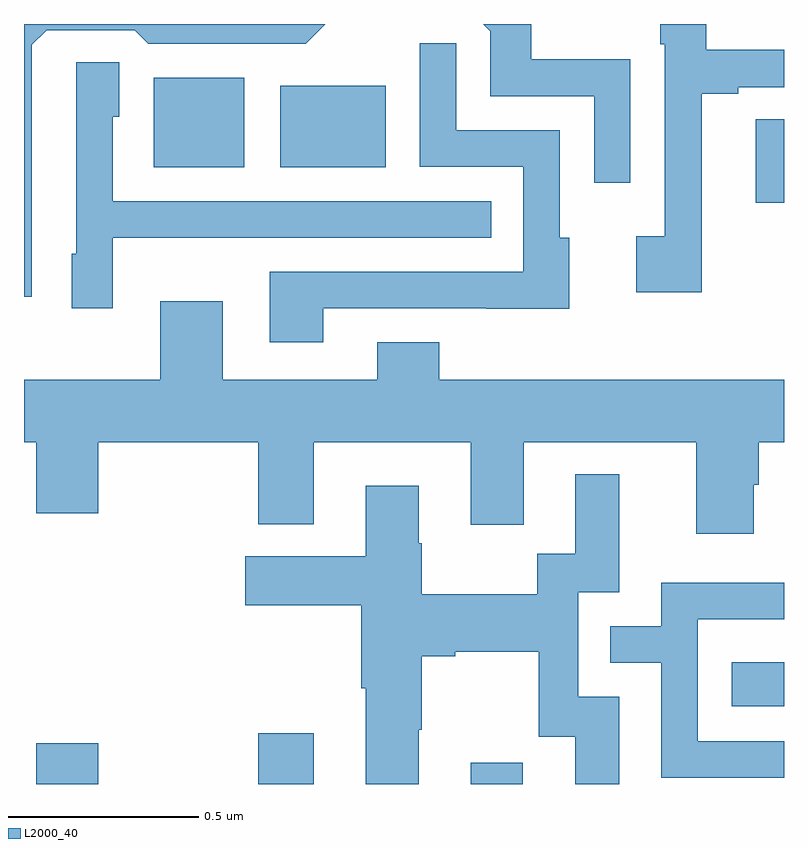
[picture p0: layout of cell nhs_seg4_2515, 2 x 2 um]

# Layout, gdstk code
import gdstk
lib = gdstk.Library(unit=1e-6, precision=1e-09)
def R(c, l, rs):  # rectangles x0, y0, x1, y1
    for r in rs: c.add(gdstk.rectangle(r[:2], r[2:], *l))
def P(c, l, *ps):  # polygons
    for p in ps: c.add(gdstk.Polygon(p, *l))
L2000_40 = (2000, 40)

nhs_seg4_2515 = lib.new_cell('nhs_seg4_2515')
R(nhs_seg4_2515, L2000_40, [(141.032,815.9,141.196,816.007), (141.616,815.9,141.763,816.034), (142.175,815.9,142.312,815.956), (142.863,816.105,143,816.22), (142.925,817.43,143,817.649), (141.341,817.523,141.58,817.759), (141.674,817.523,141.952,817.738)])
P(nhs_seg4_2515, L2000_40, [(142.783,817.716),(142.879,817.716),(142.879,817.734),(143,817.734),(143,817.832),(142.795,817.832),(142.795,817.9),(142.674,817.9),(142.674,817.847),(142.686,817.847),(142.686,817.342),(142.611,817.342),(142.611,817.194),(142.783,817.194)],
  [(142.596,817.807),(142.335,817.807),(142.335,817.9),(142.208,817.9),(142.227,817.881),(142.227,817.71),(142.5,817.71),(142.5,817.482),(142.596,817.482)],
  [(141.021,817.845),(141.06,817.884),(141.291,817.884),(141.327,817.848),(141.741,817.848),(141.793,817.9),(141,817.9),(141,817.182),(141.021,817.182)],
  [(141.787,817.152),(142.217,817.152),(142.217,817.151),(142.435,817.151),(142.435,817.338),(142.41,817.338),(142.41,817.62),(142.137,817.62),(142.137,817.849),(142.041,817.849),(142.041,817.524),(142.314,817.524),(142.314,817.248),(141.647,817.248),(141.647,817.062),(141.787,817.062)],
  [(141.234,817.337),(141.551,817.337),(141.551,817.338),(142.229,817.338),(142.229,817.434),(141.234,817.434),(141.234,817.656),(141.25,817.656),(141.25,817.799),(141.138,817.799),(141.138,817.296),(141.125,817.296),(141.125,817.152),(141.234,817.152)],
  [(141.929,817.063),(141.929,816.964),(141.523,816.964),(141.523,817.171),(141.359,817.171),(141.359,816.964),(141,816.964),(141,816.8),(141.032,816.8),(141.032,816.612),(141.196,816.612),(141.196,816.8),(141.616,816.8),(141.616,816.584),(141.763,816.584),(141.763,816.8),(142.175,816.8),(142.175,816.582),(142.315,816.582),(142.315,816.8),(142.769,816.8),(142.769,816.558),(142.921,816.558),(142.921,816.687),(142.934,816.687),(142.934,816.8),(143,816.8),(143,816.964),(142.093,816.964),(142.093,817.063)],
  [(142.039,816.043),(142.047,816.043),(142.047,816.236),(142.135,816.236),(142.135,816.248),(142.355,816.248),(142.355,816.024),(142.451,816.024),(142.451,815.9),(142.567,815.9),(142.567,816.129),(142.458,816.129),(142.458,816.405),(142.567,816.405),(142.567,816.715),(142.451,816.715),(142.451,816.506),(142.35,816.506),(142.35,816.4),(142.047,816.4),(142.047,816.534),(142.039,816.534),(142.039,816.685),(141.899,816.685),(141.899,816.499),(141.582,816.499),(141.582,816.37),(141.887,816.37),(141.887,816.152),(141.899,816.152),(141.899,815.9),(142.039,815.9)],
  [(143,816.012),(142.773,816.012),(142.773,816.333),(143,816.333),(143,816.429),(142.677,816.429),(142.677,816.315),(142.543,816.315),(142.543,816.219),(142.677,816.219),(142.677,815.916),(143,815.916)])

lib.write_gds('nhs_seg4_2515.gds')
